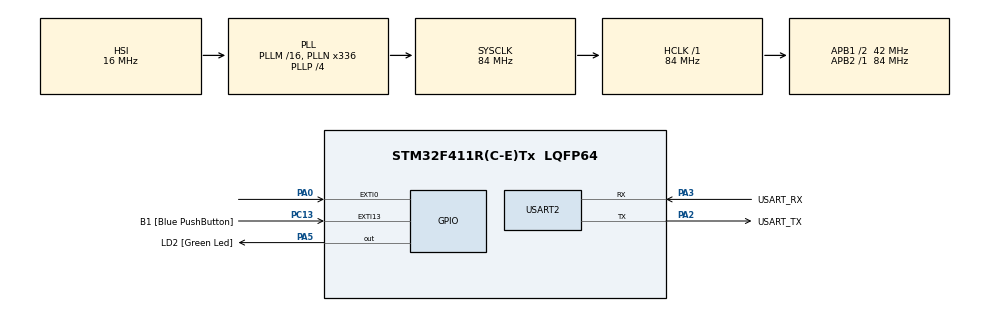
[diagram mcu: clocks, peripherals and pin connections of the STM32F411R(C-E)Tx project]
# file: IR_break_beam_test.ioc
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Mcu.Family=STM32F4
Mcu.Name=STM32F411R(C-E)Tx
Mcu.Package=LQFP64
NVIC.EXTI0_IRQn=true\:0\:0\:false\:false\:true\:true\:true\:true
NVIC.PriorityGroup=NVIC_PRIORITYGROUP_0
PA0-WKUP.GPIO_ModeDefaultEXTI=GPIO_MODE_IT_FALLING
PA0-WKUP.GPIO_PuPd=GPIO_PULLUP
PA0-WKUP.Signal=GPXTI0
PA13.GPIO_Label=TMS
PA13.Mode=Serial_Wire
PA13.Signal=SYS_JTMS-SWDIO
PA14.GPIO_Label=TCK
PA14.Mode=Serial_Wire
PA14.Signal=SYS_JTCK-SWCLK
PA2.GPIO_Label=USART_TX
PA2.Mode=Asynchronous
PA2.Signal=USART2_TX
PA3.GPIO_Label=USART_RX
PA3.Mode=Asynchronous
PA3.Signal=USART2_RX
PA5.GPIO_Label=LD2 [Green Led]
PA5.Signal=GPIO_Output
PB3.GPIO_Label=SWO
PB3.Signal=SYS_JTDO-SWO
PC13-ANTI_TAMP.GPIO_Label=B1 [Blue PushButton]
PC13-ANTI_TAMP.GPIO_ModeDefaultEXTI=GPIO_MODE_IT_FALLING
PC13-ANTI_TAMP.Signal=GPXTI13
PC14-OSC32_IN.Mode=LSE-External-Oscillator
PC14-OSC32_IN.Signal=RCC_OSC32_IN
PC15-OSC32_OUT.Mode=LSE-External-Oscillator
PC15-OSC32_OUT.Signal=RCC_OSC32_OUT
PH0\ -\ OSC_IN.Mode=HSE-External-Clock-Source
PH0\ -\ OSC_IN.Signal=RCC_OSC_IN
PH1\ -\ OSC_OUT.Mode=HSE-External-Clock-Source
PH1\ -\ OSC_OUT.Signal=RCC_OSC_OUT
ProjectManager.HeapSize=0x200
ProjectManager.StackSize=0x400
ProjectManager.TargetToolchain=STM32CubeIDE
RCC.48MHZClocksFreq_Value=84000000
RCC.AHBFreq_Value=84000000
RCC.APB1CLKDivider=RCC_HCLK_DIV2
RCC.APB1Freq_Value=42000000
RCC.APB1TimFreq_Value=84000000
RCC.APB2Freq_Value=84000000
RCC.APB2TimFreq_Value=84000000
RCC.CortexFreq_Value=84000000
RCC.FLatency-AdvancedSettings=FLASH_LATENCY_2
RCC.HCLKFreq_Value=84000000
RCC.HSE_VALUE=8000000
RCC.HSI_VALUE=16000000
RCC.PLLN=336
RCC.PLLP=RCC_PLLP_DIV4
RCC.SYSCLKFreq_VALUE=84000000
RCC.SYSCLKSource=RCC_SYSCLKSOURCE_PLLCLK
RCC.VCOOutputFreq_Value=336000000
USART2.VirtualMode=VM_ASYNC
board=NUCLEO-F411RE

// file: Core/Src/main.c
/* USER CODE BEGIN Header */
/**
  ******************************************************************************
  * @file           : main.c
  * @brief          : Main program body
  ******************************************************************************
  * @attention
  *
  * Copyright (c) 2025 STMicroelectronics.
  * All rights reserved.
  *
  * This software is licensed under terms that can be found in the LICENSE file
  * in the root directory of this software component.
  * If no LICENSE file comes with this software, it is provided AS-IS.
  *
  ******************************************************************************
  */
/* USER CODE END Header */
#include "main.h"

/* USER CODE BEGIN Includes */
#include <string.h>
/* USER CODE END Includes */

UART_HandleTypeDef huart2;

/* USER CODE BEGIN PV */
#define BEAM_GPIO_PORT      GPIOA
#define BEAM_GPIO_PIN       GPIO_PIN_0   // EXTI0
#define DEBOUNCE_MS         2            // 간단 소프트 디바운스

static volatile uint32_t g_last_edge_ms = 0;
static volatile uint8_t  g_broken_event = 0;
/* USER CODE END PV */

void SystemClock_Config(void);
static void MX_GPIO_Init(void);
static void MX_USART2_UART_Init(void);

/* USER CODE BEGIN 0 */
extern UART_HandleTypeDef huart2;
static void log_uart(const char *s)
{
  HAL_UART_Transmit(&huart2, (uint8_t*)s, (uint16_t)strlen(s), 10);
}

// EXTI 콜백: Rising 에지(LOW->HIGH) = "빔 끊김"으로 가정
void HAL_GPIO_EXTI_Callback(uint16_t GPIO_Pin)
{
  if (GPIO_Pin == BEAM_GPIO_PIN) {
    uint32_t now = HAL_GetTick();
    if ((now - g_last_edge_ms) < DEBOUNCE_MS) return; // 디바운스
    g_last_edge_ms = now;

    GPIO_PinState level = HAL_GPIO_ReadPin(BEAM_GPIO_PORT, BEAM_GPIO_PIN);
    if (level == GPIO_PIN_RESET) { // LOW = 끊김 (FALLING 직후)
      g_broken_event = 1;
    }
  }
}
/* USER CODE END 0 */

int main(void)
{

  /* MCU Configuration--------------------------------------------------------*/

  /* Reset of all peripherals, Initializes the Flash interface and the Systick. */
  HAL_Init();

  /* Configure the system clock */
  SystemClock_Config();

  /* Initialize all configured peripherals */
  MX_GPIO_Init();
  MX_USART2_UART_Init();
  /* USER CODE BEGIN 2 */
  log_uart("Break-beam EXTI (Rising) start\r\n");
  /* USER CODE END 2 */

  /* Infinite loop */
  while (1)
  {

    /* USER CODE BEGIN 3 */

	  if (g_broken_event) {
	       __disable_irq();
	       g_broken_event = 0;
	       __enable_irq();

	       log_uart("BEAM BROKEN\r\n");
	       // (선택) LED 토글: HAL_GPIO_TogglePin(GPIOA, GPIO_PIN_5);
	     }
//	  else
//		  log_uart("Test\r\n");
  }
  /* USER CODE END 3 */
}

void SystemClock_Config(void)
{
  RCC_OscInitTypeDef RCC_OscInitStruct = {0};
  RCC_ClkInitTypeDef RCC_ClkInitStruct = {0};

  /** Configure the main internal regulator output voltage
  */
  __HAL_RCC_PWR_CLK_ENABLE();
  __HAL_PWR_VOLTAGESCALING_CONFIG(PWR_REGULATOR_VOLTAGE_SCALE1);

  /** Initializes the RCC Oscillators according to the specified parameters
  * in the RCC_OscInitTypeDef structure.
  */
  RCC_OscInitStruct.OscillatorType = RCC_OSCILLATORTYPE_HSI;
  RCC_OscInitStruct.HSIState = RCC_HSI_ON;
  RCC_OscInitStruct.HSICalibrationValue = RCC_HSICALIBRATION_DEFAULT;
  RCC_OscInitStruct.PLL.PLLState = RCC_PLL_ON;
  RCC_OscInitStruct.PLL.PLLSource = RCC_PLLSOURCE_HSI;
  RCC_OscInitStruct.PLL.PLLM = 16;
  RCC_OscInitStruct.PLL.PLLN = 336;
  RCC_OscInitStruct.PLL.PLLP = RCC_PLLP_DIV4;
  RCC_OscInitStruct.PLL.PLLQ = 4;
  if (HAL_RCC_OscConfig(&RCC_OscInitStruct) != HAL_OK)
  {
    Error_Handler();
  }

  /** Initializes the CPU, AHB and APB buses clocks
  */
  RCC_ClkInitStruct.ClockType = RCC_CLOCKTYPE_HCLK|RCC_CLOCKTYPE_SYSCLK
                              |RCC_CLOCKTYPE_PCLK1|RCC_CLOCKTYPE_PCLK2;
  RCC_ClkInitStruct.SYSCLKSource = RCC_SYSCLKSOURCE_PLLCLK;
  RCC_ClkInitStruct.AHBCLKDivider = RCC_SYSCLK_DIV1;
  RCC_ClkInitStruct.APB1CLKDivider = RCC_HCLK_DIV2;
  RCC_ClkInitStruct.APB2CLKDivider = RCC_HCLK_DIV1;

  if (HAL_RCC_ClockConfig(&RCC_ClkInitStruct, FLASH_LATENCY_2) != HAL_OK)
  {
    Error_Handler();
  }
}

static void MX_USART2_UART_Init(void)
{

  huart2.Instance = USART2;
  huart2.Init.BaudRate = 115200;
  huart2.Init.WordLength = UART_WORDLENGTH_8B;
  huart2.Init.StopBits = UART_STOPBITS_1;
  huart2.Init.Parity = UART_PARITY_NONE;
  huart2.Init.Mode = UART_MODE_TX_RX;
  huart2.Init.HwFlowCtl = UART_HWCONTROL_NONE;
  huart2.Init.OverSampling = UART_OVERSAMPLING_16;
  if (HAL_UART_Init(&huart2) != HAL_OK)
  {
    Error_Handler();
  }

}

static void MX_GPIO_Init(void)
{
  GPIO_InitTypeDef GPIO_InitStruct = {0};

  /* GPIO Ports Clock Enable */
  __HAL_RCC_GPIOC_CLK_ENABLE();
  __HAL_RCC_GPIOH_CLK_ENABLE();
  __HAL_RCC_GPIOA_CLK_ENABLE();
  __HAL_RCC_GPIOB_CLK_ENABLE();

  /*Configure GPIO pin Output Level */
  HAL_GPIO_WritePin(LD2_GPIO_Port, LD2_Pin, GPIO_PIN_RESET);

  /*Configure GPIO pin : B1_Pin */
  GPIO_InitStruct.Pin = B1_Pin;
  GPIO_InitStruct.Mode = GPIO_MODE_IT_FALLING;
  GPIO_InitStruct.Pull = GPIO_NOPULL;
  HAL_GPIO_Init(B1_GPIO_Port, &GPIO_InitStruct);

  /*Configure GPIO pin : PA0 */
  GPIO_InitStruct.Pin = GPIO_PIN_0;
  GPIO_InitStruct.Mode = GPIO_MODE_IT_FALLING;
  GPIO_InitStruct.Pull = GPIO_PULLUP;
  HAL_GPIO_Init(GPIOA, &GPIO_InitStruct);

  /*Configure GPIO pin : LD2_Pin */
  GPIO_InitStruct.Pin = LD2_Pin;
  GPIO_InitStruct.Mode = GPIO_MODE_OUTPUT_PP;
  GPIO_InitStruct.Pull = GPIO_NOPULL;
  GPIO_InitStruct.Speed = GPIO_SPEED_FREQ_LOW;
  HAL_GPIO_Init(LD2_GPIO_Port, &GPIO_InitStruct);

  /* EXTI interrupt init*/
  HAL_NVIC_SetPriority(EXTI0_IRQn, 0, 0);
  HAL_NVIC_EnableIRQ(EXTI0_IRQn);

}

void Error_Handler(void)
{
  __disable_irq();
  while (1)
  {
  }
}
